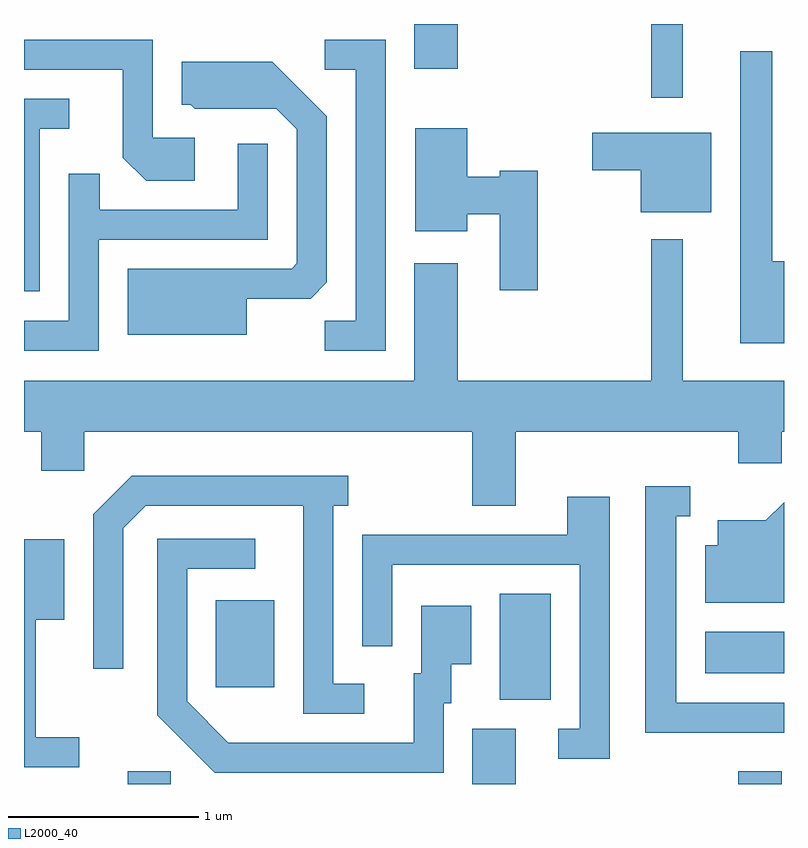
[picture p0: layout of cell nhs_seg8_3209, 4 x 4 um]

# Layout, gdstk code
import gdstk
lib = gdstk.Library(unit=1e-6, precision=1e-09)
def R(c, l, rs):  # rectangles x0, y0, x1, y1
    for r in rs: c.add(gdstk.rectangle(r[:2], r[2:], *l))
def P(c, l, *ps):  # polygons
    for p in ps: c.add(gdstk.Polygon(p, *l))
L2000_40 = (2000, 40)

nhs_seg8_3209 = lib.new_cell('nhs_seg8_3209')
R(nhs_seg8_3209, L2000_40, [(282.156,1832.342,282.384,1832.409), (283.971,1832.342,284.199,1832.634), (285.371,1832.342,285.599,1832.409), (284.116,1832.786,284.384,1833.344), (282.621,1832.851,282.929,1833.309), (285.196,1832.926,285.611,1833.144), (284.911,1835.953,285.079,1836.342), (283.666,1836.106,283.894,1836.342)])
P(nhs_seg8_3209, L2000_40, [(282.509,1835.744),(282.289,1835.744),(282.289,1836.259),(281.611,1836.259),(281.611,1836.101),(282.131,1836.101),(282.131,1835.639),(282.254,1835.516),(282.509,1835.516)],
  [(283.514,1836.259),(283.193,1836.259),(283.193,1836.101),(283.356,1836.101),(283.356,1834.779),(283.193,1834.779),(283.193,1834.621),(283.514,1834.621)],
  [(285.611,1835.094),(285.549,1835.094),(285.549,1836.198),(285.381,1836.198),(285.381,1834.661),(285.611,1834.661)],
  [(282.784,1834.896),(283.119,1834.896),(283.204,1834.982),(283.204,1835.857),(282.917,1836.144),(282.441,1836.144),(282.441,1835.916),(282.489,1835.916),(282.509,1835.896),(282.939,1835.896),(283.046,1835.789),(283.046,1835.082),(283.019,1835.054),(282.156,1835.054),(282.156,1834.706),(282.784,1834.706)],
  [(281.694,1835.791),(281.848,1835.791),(281.848,1835.949),(281.611,1835.949),(281.611,1834.936),(281.694,1834.936)],
  [(284.314,1835.569),(284.116,1835.569),(284.116,1835.539),(283.944,1835.539),(283.944,1835.794),(283.671,1835.794),(283.671,1835.251),(283.944,1835.251),(283.944,1835.341),(284.116,1835.341),(284.116,1834.941),(284.314,1834.941)],
  [(285.229,1835.769),(284.601,1835.769),(284.601,1835.571),(284.856,1835.571),(284.856,1835.351),(285.229,1835.351)],
  [(282.004,1835.206),(282.894,1835.206),(282.894,1835.713),(282.736,1835.713),(282.736,1835.364),(282.009,1835.364),(282.009,1835.553),(281.846,1835.553),(281.846,1834.779),(281.611,1834.779),(281.611,1834.621),(282.004,1834.621)],
  [(284.199,1834.196),(285.371,1834.196),(285.371,1834.031),(285.599,1834.031),(285.599,1834.196),(285.611,1834.196),(285.611,1834.464),(285.079,1834.464),(285.079,1835.208),(284.911,1835.208),(284.911,1834.464),(283.894,1834.464),(283.894,1835.084),(283.666,1835.084),(283.666,1834.464),(281.611,1834.464),(281.611,1834.196),(281.701,1834.196),(281.701,1833.991),(281.929,1833.991),(281.929,1834.196),(283.971,1834.196),(283.971,1833.806),(284.199,1833.806)],
  [(283.403,1832.869),(283.239,1832.869),(283.239,1833.806),(283.318,1833.806),(283.318,1833.964),(282.179,1833.964),(281.976,1833.762),(281.976,1832.948),(282.134,1832.948),(282.134,1833.689),(282.252,1833.806),(283.081,1833.806),(283.081,1832.711),(283.403,1832.711)],
  [(285.611,1832.769),(285.044,1832.769),(285.044,1833.751),(285.118,1833.751),(285.118,1833.909),(284.881,1833.909),(284.881,1832.611),(285.611,1832.611)],
  [(284.694,1833.854),(284.471,1833.854),(284.471,1833.654),(283.391,1833.654),(283.391,1833.068),(283.549,1833.068),(283.549,1833.496),(284.536,1833.496),(284.536,1832.634),(284.423,1832.634),(284.423,1832.476),(284.694,1832.476)],
  [(285.611,1833.826),(285.514,1833.729),(285.261,1833.729),(285.261,1833.599),(285.196,1833.599),(285.196,1833.296),(285.611,1833.296)],
  [(283.819,1832.766),(283.859,1832.766),(283.859,1832.971),(283.964,1832.971),(283.964,1833.279),(283.701,1833.279),(283.701,1832.924),(283.661,1832.924),(283.661,1832.559),(282.687,1832.559),(282.469,1832.777),(282.469,1833.476),(282.828,1833.476),(282.828,1833.634),(282.311,1833.634),(282.311,1832.704),(282.614,1832.401),(283.819,1832.401)],
  [(281.903,1832.589),(281.674,1832.589),(281.674,1833.206),(281.824,1833.206),(281.824,1833.629),(281.611,1833.629),(281.611,1832.431),(281.903,1832.431)])

lib.write_gds('nhs_seg8_3209.gds')
